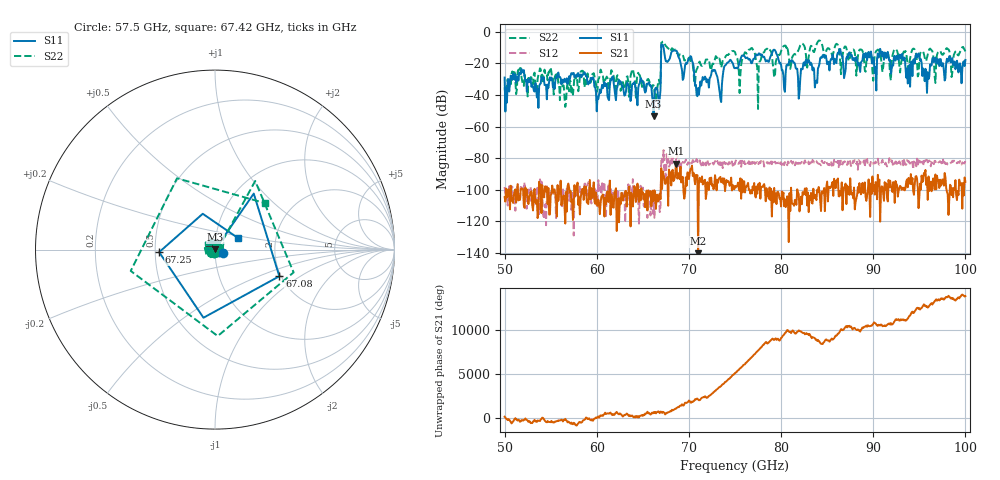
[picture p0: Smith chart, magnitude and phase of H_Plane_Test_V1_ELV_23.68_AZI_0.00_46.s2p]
! 11/27/2026 8:32:17 AM
! C:\ANRITSUVNA\TEMP\TEMP.S2P
! CHANNEL.1
! TR.MEASUREMENT
! RAW.DATA
# HZ S RI R 50.0
! FREQ.HZ  S11RE  S11IM  S21RE  S21IM  S12RE  S12IM  S22RE  S22IM
!; PortSelection: Port_12
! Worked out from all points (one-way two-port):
!   601 points, 50 GHz to 100 GHz, reference 50 ohm
!   highest |S21| = -83.49 dB at 68.58 GHz (marker M1); lowest = -140.0 dB at 71 GHz (marker M2)
!   lowest |S11| = -53.7 dB at 66.17 GHz (marker M3), VSWR 1.00, Z = 50.1 + j0.156 ohm
!   |S11| at or under -10 dB: start of sweep to 67 GHz; 67.24 GHz to end of sweep
!   |S22| runs from -48.9 to -5.6 dB; largest |S21 - S12| = 0.0002
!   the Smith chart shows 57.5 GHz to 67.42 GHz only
!   S11 on the Smith chart (normalised r, x): 57.5 GHz: 1.09, -0.05; 67.08 GHz: 1.96, -0.68; 67.25 GHz: 0.53, -0.02; 67.42 GHz: 1.29, +0.17
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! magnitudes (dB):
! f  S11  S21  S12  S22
! 50 GHz  -29.0  -104.6  -98.2  -35.3
! 57.5 GHz  -26.1  -109.4  -128.9  -34.5
! 58.42 GHz  -27.1  -99.5  -99.8  -24.8
! 60.17 GHz  -42.6  -106.2  -93.9  -30.1
! 66.17 GHz  -53.7  -107.1  -107.9  -34.0
! 66.67 GHz  -41.8  -107.3  -102.4  -31.6
! 67.08 GHz  -8.2  -99.4  -81.1  -6.8
! 67.25 GHz  -10.1  -90.5  -74.9  -6.3
! 67.42 GHz  -16.8  -96.2  -84.6  -8.4
! 68.58 GHz  -12.1  -83.5  -83.1  -12.3
! 70.25 GHz  -16.0  -86.6  -84.4  -18.7
! 71 GHz  -35.6  -140.0  -82.9  -21.6
! 75 GHz  -23.1  -97.5  -83.5  -13.0
! 77.58 GHz  -13.8  -99.5  -83.2  -21.7
! 78.5 GHz  -18.2  -104.0  -82.4  -10.8
! 79.33 GHz  -11.7  -107.4  -82.2  -28.8
! 80.25 GHz  -27.9  -101.8  -82.9  -9.4
! 83.42 GHz  -24.5  -108.6  -81.2  -10.8
! 91.67 GHz  -16.6  -93.8  -83.0  -15.2
! 94.83 GHz  -14.9  -98.5  -85.0  -28.3
! 95.83 GHz  -38.7  -93.0  -81.1  -16.4
! 100 GHz  -17.9  -94.9  -81.4  -12.5
